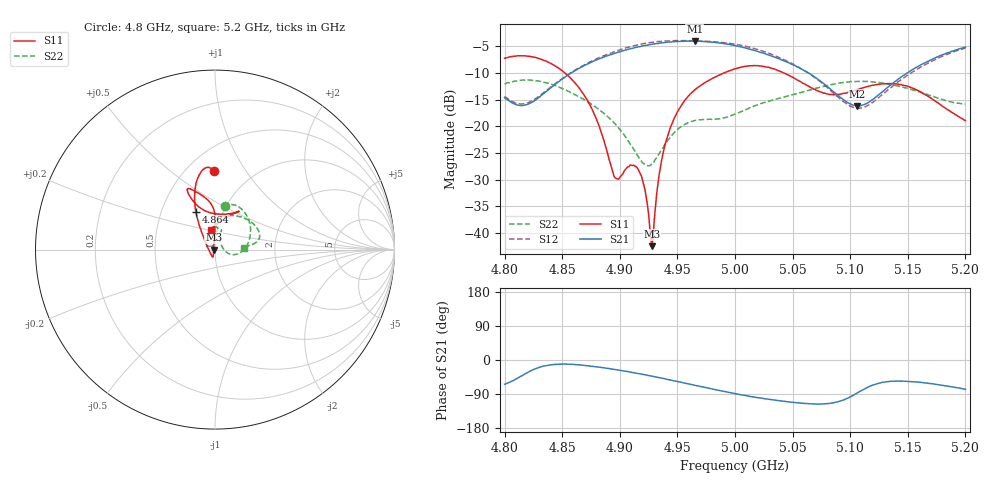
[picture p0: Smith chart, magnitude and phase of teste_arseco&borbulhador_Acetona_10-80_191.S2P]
! Network Analyzer HP8722D
! Hewlett-Packard
! Data name: Linha & Wilkinson
! Saver's name: Rodrigo Anjos
! Comments: Teste da utilização de aquisição
! continua pelo VNA HP8722D
! Time and date: 25/4/2025 16:51
!  Frequency  S11  S21  S12  S22
# HZ  S  MA R 50
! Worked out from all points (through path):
!   401 points, 4.8 GHz to 5.2 GHz, reference 50 ohm
!   highest |S21| = -3.98 dB at 4.965 GHz (marker M1); lowest = -16.2 dB at 5.106 GHz (marker M2)
!   lowest |S11| = -42.5 dB at 4.928 GHz (marker M3), VSWR 1.02, Z = 49.3 + j0.046 ohm
!   |S11| at or under -10 dB: 4.853 GHz to 4.99 GHz (137.7 MHz wide, 2.8 % of centre); 5.043 GHz to end of sweep
!   |S22| runs from -27.4 to -11.3 dB; largest |S21 - S12| = 1.2
!   S11 on the Smith chart (normalised r, x): 4.8 GHz: 0.67, +0.72; 4.864 GHz: 0.75, +0.33; 5.2 GHz: 0.94, +0.21
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4.8e9  0.4357 91.0  0.1859 -63.9  0.1913 69.5  0.2488 77.6
4.82e9  0.4547 97.3  0.1608 -32.6  0.1663 98.1  0.2722 61.8
4.843e9  0.3744 106.6  0.2438 -11.9  0.2475 118.9  0.2446 37.1
4.864e9  0.2347 116.9  0.3477 -12.7  0.3508 121.0  0.1905 12.4
4.867e9  0.2114 118.6  0.3624 -13.6  0.366 120.9  0.1834 9.1
4.881e9  0.1081 130.3  0.4259 -18.4  0.437 118.1  0.1461 -5.6
4.896e9  0.03282 -170.2  0.4864 -25.1  0.506 113.3  0.1054 -15.5
4.91e9  0.04321 -107.8  0.5385 -32.3  0.5618 107.4  0.06559 -13.4
4.917e9  0.03728 -104.5  0.5602 -36.1  0.5875 103.8  0.05009 -0.6
4.921e9  0.02768 -108.7  0.5723 -38.5  0.5995 101.4  0.04448 12.1
4.928e9  0.007485 176.4  0.5907 -42.6  0.6157 97.3  0.04477 40.5
4.934e9  0.03426 100.0  0.602 -46.6  0.628 93.5  0.05486 57.2
4.939e9  0.06495 93.8  0.6136 -49.5  0.6345 90.2  0.0668 65.2
4.946e9  0.1102 90.3  0.6231 -54.2  0.6372 85.9  0.08411 69.5
4.965e9  0.2193 91.4  0.6325 -66.6  0.6368 73.7  0.1135 71.2
5e9  0.3469 109.3  0.5725 -88.8  0.5916 51.0  0.1301 88.4
5.029e9  0.3586 115.3  0.4691 -103.5  0.4874 34.5  0.1715 85.9
5.067e9  0.2283 105.7  0.3023 -115.9  0.2988 23.6  0.2222 57.3
5.106e9  0.2204 65.3  0.1556 -87.3  0.1477 55.6  0.2636 25.1
5.134e9  0.2516 57.8  0.2396 -56.6  0.2252 88.8  0.2487 12.5
5.169e9  0.1875 70.6  0.4157 -61.9  0.3999 85.0  0.1955 6.8
5.2e9  0.1135 100.6  0.5542 -77.3  0.5436 70.3  0.162 3.8
